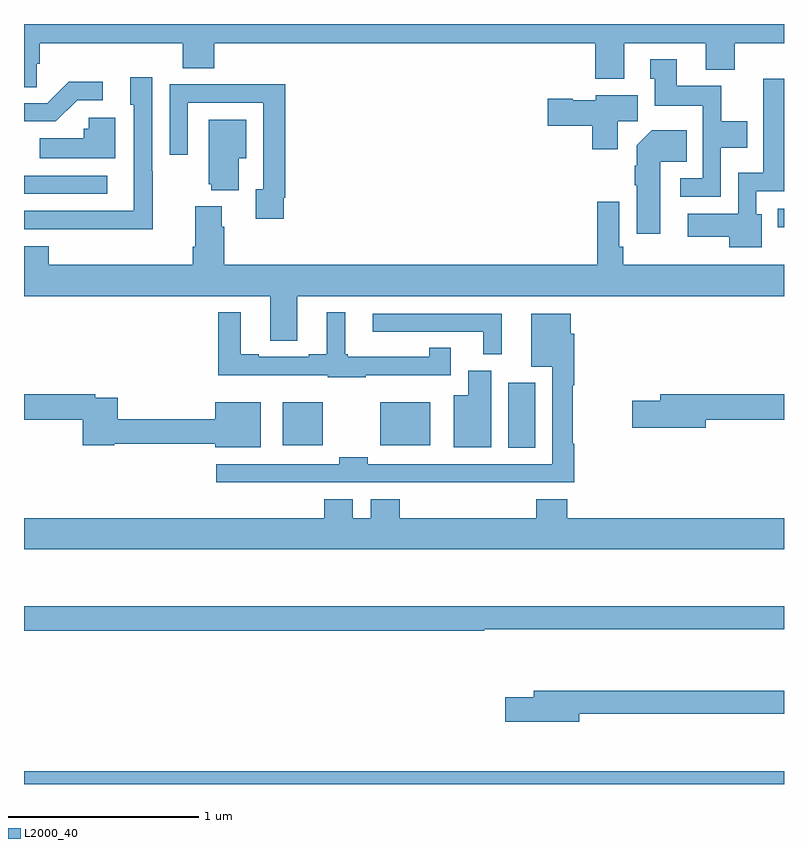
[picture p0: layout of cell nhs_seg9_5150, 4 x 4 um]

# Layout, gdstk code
import gdstk
lib = gdstk.Library(unit=1e-6, precision=1e-09)
def R(c, l, rs):  # rectangles x0, y0, x1, y1
    for r in rs: c.add(gdstk.rectangle(r[:2], r[2:], *l))
def P(c, l, *ps):  # polygons
    for p in ps: c.add(gdstk.Polygon(p, *l))
L2000_40 = (2000, 40)

nhs_seg9_5150 = lib.new_cell('nhs_seg9_5150')
R(nhs_seg9_5150, L2000_40, [(409,1212.5,413,1212.568), (411.548,1214.269,411.691,1214.611), (410.363,1214.282,410.572,1214.509), (410.876,1214.282,411.139,1214.509), (412.967,1215.431,413,1215.528), (409,1215.606,409.438,1215.702)])
P(nhs_seg9_5150, L2000_40, [(409.068,1216.291),(409.082,1216.291),(409.082,1216.4),(409.835,1216.4),(409.835,1216.267),(410,1216.267),(410,1216.4),(412.007,1216.4),(412.007,1216.211),(412.159,1216.211),(412.159,1216.4),(412.589,1216.4),(412.589,1216.259),(412.742,1216.259),(412.742,1216.4),(413,1216.4),(413,1216.5),(409,1216.5),(409,1216.168),(409.068,1216.168)],
  [(412.668,1215.848),(412.807,1215.848),(412.807,1215.988),(412.671,1215.988),(412.671,1216.174),(412.435,1216.174),(412.435,1216.315),(412.295,1216.315),(412.295,1216.212),(412.319,1216.212),(412.319,1216.07),(412.572,1216.07),(412.572,1215.687),(412.455,1215.687),(412.455,1215.591),(412.668,1215.591)],
  [(409.677,1215.725),(409.674,1215.725),(409.674,1216.219),(409.559,1216.219),(409.559,1216.074),(409.578,1216.074),(409.578,1215.734),(409.577,1215.734),(409.577,1215.516),(409,1215.516),(409,1215.42),(409.213,1215.42),(409.213,1215.419),(409.677,1215.419)],
  [(412.882,1215.498),(412.854,1215.498),(412.854,1215.621),(413,1215.621),(413,1216.213),(412.892,1216.213),(412.892,1215.718),(412.758,1215.718),(412.758,1215.502),(412.494,1215.502),(412.494,1215.38),(412.711,1215.38),(412.711,1215.326),(412.882,1215.326)],
  [(409.279,1216.098),(409.414,1216.098),(409.414,1216.196),(409.235,1216.196),(409.122,1216.083),(409,1216.083),(409,1215.987),(409.168,1215.987)],
  [(410.368,1215.586),(410.375,1215.586),(410.375,1216.184),(410.083,1216.184),(410.083,1216.182),(409.767,1216.182),(409.767,1215.813),(409.863,1215.813),(409.863,1216.086),(410.259,1216.086),(410.259,1215.63),(410.219,1215.63),(410.219,1215.474),(410.368,1215.474)],
  [(412.126,1215.988),(412.231,1215.988),(412.231,1216.126),(412.008,1216.126),(412.008,1216.099),(411.888,1216.099),(411.888,1216.107),(411.756,1216.107),(411.756,1215.965),(411.992,1215.965),(411.992,1215.84),(412.126,1215.84)],
  [(409.48,1216.006),(409.341,1216.006),(409.341,1215.948),(409.315,1215.948),(409.315,1215.898),(409.084,1215.898),(409.084,1215.794),(409.48,1215.794)],
  [(410.131,1215.794),(410.17,1215.794),(410.17,1215.997),(409.973,1215.997),(409.973,1215.657),(409.985,1215.657),(409.985,1215.626),(410.131,1215.626)],
  [(412.348,1215.776),(412.487,1215.776),(412.487,1215.94),(412.304,1215.94),(412.226,1215.862),(412.226,1215.755),(412.214,1215.755),(412.214,1215.652),(412.226,1215.652),(412.226,1215.396),(412.348,1215.396)],
  [(410.437,1215.068),(413,1215.068),(413,1215.232),(412.154,1215.232),(412.154,1215.328),(412.134,1215.328),(412.134,1215.565),(412.018,1215.565),(412.018,1215.232),(410.054,1215.232),(410.054,1215.434),(410.041,1215.434),(410.041,1215.541),(409.901,1215.541),(409.901,1215.328),(409.889,1215.328),(409.889,1215.232),(409.13,1215.232),(409.13,1215.331),(409,1215.331),(409,1215.068),(410.297,1215.068),(410.297,1214.833),(410.437,1214.833)],
  [(410.798,1214.651),(411.247,1214.651),(411.247,1214.795),(411.134,1214.795),(411.134,1214.749),(410.704,1214.749),(410.704,1214.761),(410.692,1214.761),(410.692,1214.983),(410.594,1214.983),(410.594,1214.761),(410.498,1214.761),(410.498,1214.748),(410.236,1214.748),(410.236,1214.761),(410.14,1214.761),(410.14,1214.983),(410.023,1214.983),(410.023,1214.651),(410.598,1214.651),(410.598,1214.64),(410.798,1214.64)],
  [(411.514,1214.976),(410.835,1214.976),(410.835,1214.88),(411.416,1214.88),(411.416,1214.761),(411.514,1214.761)],
  [(410.558,1214.088),(411.061,1214.088),(411.061,1214.087),(411.611,1214.087),(411.611,1214.088),(411.896,1214.088),(411.896,1214.291),(411.889,1214.291),(411.889,1214.6),(411.896,1214.6),(411.896,1214.87),(411.877,1214.87),(411.877,1214.974),(411.671,1214.974),(411.671,1214.696),(411.78,1214.696),(411.78,1214.184),(410.808,1214.184),(410.808,1214.22),(410.658,1214.22),(410.658,1214.184),(410.013,1214.184),(410.013,1214.087),(410.558,1214.087)],
  [(411.46,1214.676),(411.338,1214.676),(411.338,1214.545),(411.263,1214.545),(411.263,1214.273),(411.46,1214.273)],
  [(412.588,1214.416),(413,1214.416),(413,1214.552),(412.349,1214.552),(412.349,1214.516),(412.2,1214.516),(412.2,1214.374),(412.588,1214.374)],
  [(410.245,1214.509),(410.006,1214.509),(410.006,1214.42),(409.493,1214.42),(409.493,1214.532),(409.376,1214.532),(409.376,1214.552),(409,1214.552),(409,1214.416),(409.31,1214.416),(409.31,1214.284),(409.476,1214.284),(409.476,1214.292),(410.006,1214.292),(410.006,1214.273),(410.245,1214.273)],
  [(413,1213.9),(411.86,1213.9),(411.86,1213.999),(411.695,1213.999),(411.695,1213.9),(410.978,1213.9),(410.978,1213.999),(410.825,1213.999),(410.825,1213.9),(410.731,1213.9),(410.731,1213.999),(410.579,1213.999),(410.579,1213.9),(409,1213.9),(409,1213.736),(413,1213.736)],
  [(411.422,1213.314),(413,1213.314),(413,1213.435),(409,1213.435),(409,1213.306),(411.422,1213.306)],
  [(411.922,1212.87),(413,1212.87),(413,1212.991),(411.683,1212.991),(411.683,1212.957),(411.534,1212.957),(411.534,1212.827),(411.922,1212.827)])

lib.write_gds('nhs_seg9_5150.gds')
